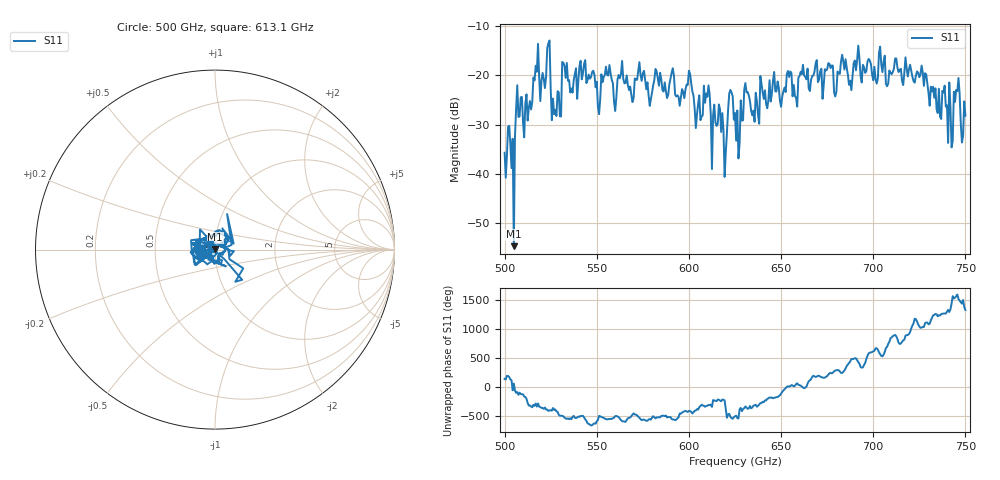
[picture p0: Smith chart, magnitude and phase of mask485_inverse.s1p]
!Created with skrf (http://scikit-rf.org).
# GHz S MA R 50.0
!freq magS11 angS11
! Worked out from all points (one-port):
!   401 points, 500 GHz to 750 GHz, reference 50 ohm
!   lowest |S11| = -54.7 dB at 505 GHz (marker M1), VSWR 1.00, Z = 50.1 + j0.151 ohm
!   |S11| at or under -10 dB: start of sweep to end of sweep
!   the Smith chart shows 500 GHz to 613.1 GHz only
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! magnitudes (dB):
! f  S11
! 500 GHz  -35.7
! 505 GHz  -54.7
! 507.5 GHz  -28.4
! 513.8 GHz  -25.2
! 516.9 GHz  -18.1
! 520.6 GHz  -19.5
! 523.8 GHz  -13.5
! 526.9 GHz  -27.9
! 531.2 GHz  -17.3
! 550.6 GHz  -26.3
! 556.2 GHz  -20.0
! 560 GHz  -27.2
! 562.5 GHz  -20.6
! 593.8 GHz  -24.0
! 609.4 GHz  -23.7
! 618.8 GHz  -31.1
! 622.5 GHz  -22.9
! 625 GHz  -27.6
! 656.2 GHz  -24.3
! 680 GHz  -23.4
! 683.8 GHz  -17.2
! 687.5 GHz  -21.1
! 691.2 GHz  -17.0
! 718.8 GHz  -20.2
! 738.8 GHz  -22.1
! 741.9 GHz  -26.4
! 745 GHz  -22.9
! 750 GHz  -28.2
